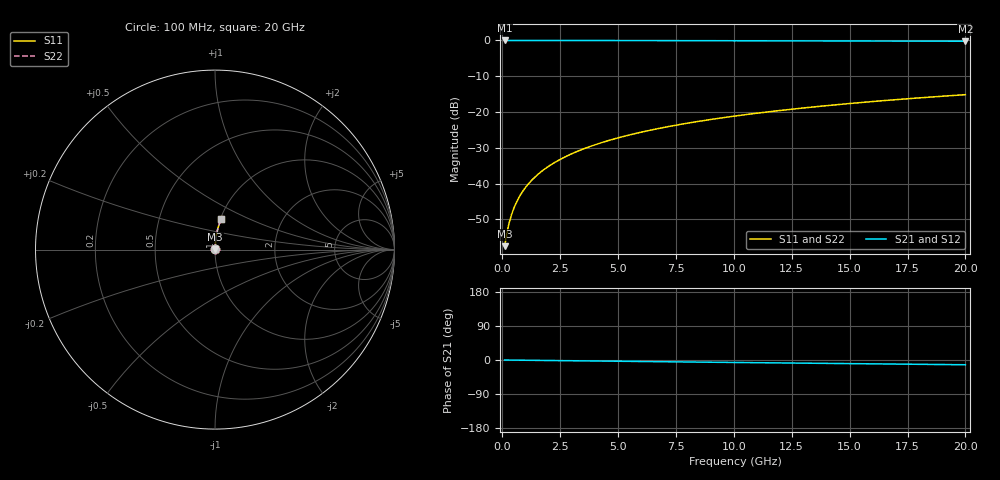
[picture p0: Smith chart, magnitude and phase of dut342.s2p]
! Touchstone file exported from HFSS 2024.1.0
!  File:  C:/UserFiles/LocalFiles/RDL_TSV_Batchsim/temp_RDL_top_342_1779607809.aedt
!  Generated:  03:32:41 PM May 24, 2026
!  Design:  RDL_top
!  Project:  temp_RDL_top_342_1779607809
!  Setup:  Setup1
!  Solution:  Sweep
! Variables:
!  dtsv = 10.80580581um
!  hbump = 3um
!  htsv = 95.94um
!  ldown = 100um
!  lrdl = 114.96um
!  p = 40
!  p1 = 51.65um
!  rhole = 1um
!  t = 450um
!  tdown = 3.915915916um
!  trdl = 4.19um
!  wdown = 15.38538539um
!  wrdl = 11.36um
# GHz S MA R 50.000000
! Terminal data exported
! Port[1] = Box2_T1
! Port[2] = Box2_T2
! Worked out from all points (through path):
!   200 points, 100 MHz to 20 GHz, reference 50 ohm
!   highest |S21| = -0.01 dB at 100 MHz (marker M1); lowest = -0.2 dB at 20 GHz (marker M2)
!   group delay of S21, straight-line fit = 1.74 ps
!   lowest |S11| = -57.5 dB at 100 MHz (marker M3), VSWR 1.00, Z = 50.1 + j0.0893 ohm
!   |S11| at or under -10 dB: start of sweep to end of sweep
!   |S22| runs from -57.5 to -15.2 dB; largest |S21 - S12| = 2.3e-15
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0.1  0.001331 42.0  0.999 -0.1  0.999 -0.1  0.001331 42.0
! Gamma 0 0 0 0
! Port Impedance 50 0 50 0
0.2  0.002041 60.5  0.999 -0.1  0.999 -0.1  0.002041 60.5
0.3  0.002846 68.9  0.999 -0.2  0.999 -0.2  0.002846 68.9
0.4  0.003678 73.5  0.9989 -0.3  0.9989 -0.3  0.003678 73.5
0.5  0.004521 76.3  0.9989 -0.3  0.9989 -0.3  0.004521 76.3
0.6  0.005369 78.3  0.9989 -0.4  0.9989 -0.4  0.005369 78.3
0.8  0.007074 80.9  0.9988 -0.5  0.9988 -0.5  0.007074 80.9
1.1  0.009644 83.0  0.9988 -0.7  0.9988 -0.7  0.009644 83.0
1.5  0.01309 84.5  0.9986 -1.0  0.9986 -1.0  0.01309 84.5
1.8  0.01568 85.1  0.9985 -1.2  0.9985 -1.2  0.01568 85.1
2.1  0.01827 85.5  0.9984 -1.4  0.9984 -1.4  0.01827 85.5
2.7  0.02347 86.0  0.998 -1.8  0.998 -1.8  0.02347 86.0
3.5  0.03041 86.2  0.9975 -2.3  0.9975 -2.3  0.03041 86.2
4.2  0.0365 86.2  0.9969 -2.8  0.9969 -2.8  0.0365 86.2
5  0.04347 86.1  0.9962 -3.3  0.9962 -3.3  0.04347 86.1
5.9  0.05133 85.9  0.9952 -3.9  0.9952 -3.9  0.05133 85.9
6.8  0.05921 85.6  0.9942 -4.5  0.9942 -4.5  0.05921 85.6
8.3  0.07237 85.0  0.9924 -5.4  0.9924 -5.4  0.07237 85.0
10.1  0.08822 84.1  0.99 -6.6  0.99 -6.6  0.08822 84.1
13.4  0.1172 82.3  0.9851 -8.6  0.9851 -8.6  0.1172 82.3
16.7  0.1461 80.4  0.9799 -10.6  0.9799 -10.6  0.1461 80.4
20  0.1745 78.4  0.9741 -12.6  0.9741 -12.6  0.1745 78.4
